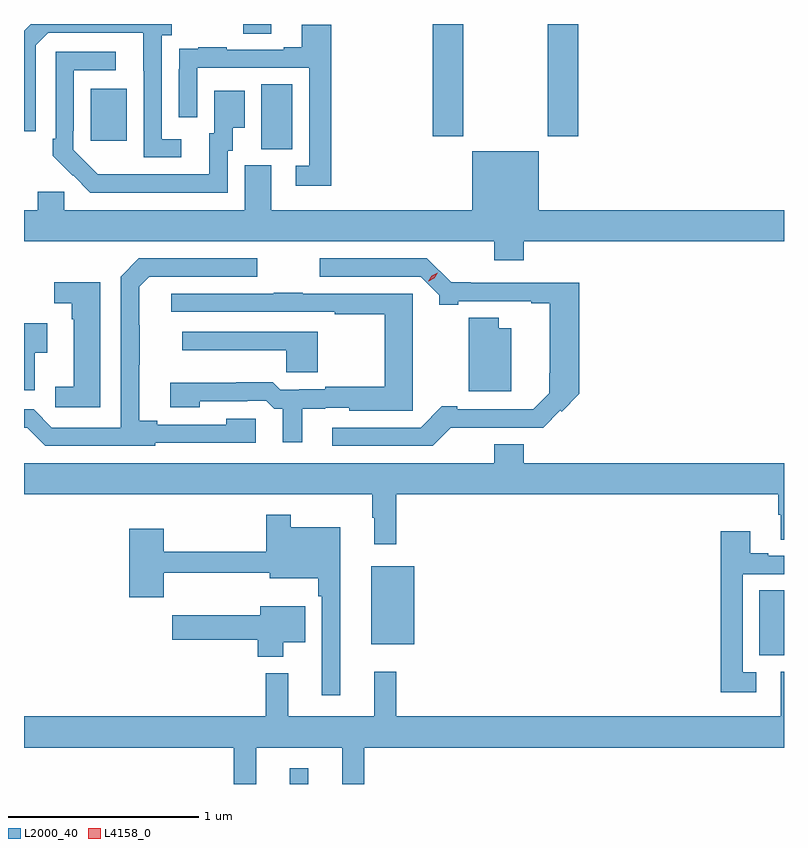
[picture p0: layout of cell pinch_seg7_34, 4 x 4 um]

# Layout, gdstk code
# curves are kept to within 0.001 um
import gdstk
lib = gdstk.Library(unit=1e-6, precision=1e-09)
def R(c, l, rs):  # rectangles x0, y0, x1, y1
    for r in rs: c.add(gdstk.rectangle(r[:2], r[2:], *l))
def P(c, l, *ps):  # polygons
    for p in ps: c.add(gdstk.Polygon(p, *l))
L2000_40 = (2000, 40)
L4158_0 = (4158, 0)

pinch_seg7_34 = lib.new_cell('pinch_seg7_34')
R(pinch_seg7_34, L2000_40, [(1056.176,1056.368,1056.273,1056.451), (1058.648,1057.045,1058.777,1057.388), (1056.605,1057.103,1056.832,1057.513), (1056.026,1059.709,1056.19,1060.052), (1055.129,1059.753,1055.317,1060.027), (1056.929,1059.777,1057.089,1060.368), (1057.534,1059.777,1057.694,1060.368), (1055.932,1060.318,1056.079,1060.368)])
P(pinch_seg7_34, L2000_40, [(1055.605,1059.762),(1055.502,1059.762),(1055.502,1060.31),(1055.554,1060.31),(1055.554,1060.368),(1054.812,1060.368),(1054.777,1060.333),(1054.777,1059.804),(1054.839,1059.804),(1054.839,1060.257),(1054.905,1060.323),(1055.405,1060.323),(1055.406,1059.666),(1055.605,1059.666)],
  [(1056.395,1060.363),(1056.239,1060.363),(1056.239,1060.246),(1056.143,1060.246),(1056.143,1060.233),(1055.843,1060.233),(1055.843,1060.246),(1055.695,1060.246),(1055.695,1060.239),(1055.593,1060.239),(1055.593,1060.13),(1055.592,1060.13),(1055.592,1059.876),(1055.688,1059.876),(1055.688,1060.137),(1056.279,1060.137),(1056.279,1059.621),(1056.207,1059.621),(1056.207,1059.516),(1056.395,1059.516)],
  [(1055.85,1059.702),(1055.875,1059.702),(1055.875,1059.821),(1055.938,1059.821),(1055.938,1060.018),(1055.777,1060.018),(1055.777,1059.792),(1055.753,1059.792),(1055.753,1059.576),(1055.166,1059.577),(1055.037,1059.705),(1055.037,1059.805),(1055.04,1059.805),(1055.04,1060.125),(1055.26,1060.125),(1055.26,1060.221),(1054.944,1060.221),(1054.944,1059.763),(1054.929,1059.763),(1054.929,1059.675),(1055.126,1059.48),(1055.85,1059.48)],
  [(1057.406,1059.224),(1058.777,1059.224),(1058.777,1059.388),(1057.486,1059.388),(1057.486,1059.697),(1057.136,1059.697),(1057.136,1059.388),(1056.079,1059.388),(1056.079,1059.624),(1055.939,1059.624),(1055.939,1059.388),(1054.989,1059.388),(1054.989,1059.486),(1054.85,1059.486),(1054.85,1059.388),(1054.777,1059.388),(1054.777,1059.224),(1057.253,1059.224),(1057.253,1059.125),(1057.406,1059.125)],
  [(1057.022,1058.243),(1057.509,1058.244),(1057.599,1058.335),(1057.606,1058.327),(1057.7,1058.421),(1057.7,1059.006),(1057.129,1059.006),(1057.129,1059.008),(1057.025,1059.008),(1056.897,1059.135),(1056.333,1059.135),(1056.333,1059.039),(1056.864,1059.039),(1056.963,1058.94),(1056.963,1058.89),(1057.063,1058.89),(1057.063,1058.91),(1057.448,1058.91),(1057.448,1058.898),(1057.544,1058.898),(1057.544,1058.53),(1057.542,1058.53),(1057.542,1058.424),(1057.458,1058.34),(1057.057,1058.34),(1057.057,1058.356),(1056.976,1058.356),(1056.864,1058.244),(1056.399,1058.244),(1056.399,1058.148),(1056.927,1058.148)],
  [(1055.469,1058.163),(1055.998,1058.163),(1055.998,1058.29),(1055.842,1058.29),(1055.842,1058.259),(1055.479,1058.259),(1055.479,1058.279),(1055.383,1058.279),(1055.383,1058.575),(1055.385,1058.575),(1055.385,1058.782),(1055.383,1058.782),(1055.383,1058.986),(1055.436,1059.039),(1056.004,1059.039),(1056.004,1059.135),(1055.382,1059.135),(1055.286,1059.039),(1055.286,1058.244),(1054.923,1058.244),(1054.827,1058.34),(1054.777,1058.34),(1054.777,1058.244),(1054.794,1058.244),(1054.89,1058.148),(1055.469,1058.148)],
  [(1055.179,1059.008),(1054.935,1059.008),(1054.935,1058.898),(1055.027,1058.898),(1055.027,1058.813),(1055.039,1058.813),(1055.039,1058.459),(1054.941,1058.459),(1054.941,1058.35),(1055.179,1058.35)],
  [(1056.241,1058.342),(1056.363,1058.342),(1056.363,1058.349),(1056.489,1058.349),(1056.489,1058.333),(1056.823,1058.333),(1056.823,1058.949),(1056.245,1058.949),(1056.245,1058.954),(1056.091,1058.954),(1056.091,1058.949),(1055.553,1058.949),(1055.553,1058.853),(1056.412,1058.853),(1056.412,1058.841),(1056.676,1058.841),(1056.676,1058.458),(1056.363,1058.458),(1056.363,1058.445),(1056.226,1058.445),(1056.226,1058.442),(1056.126,1058.442),(1056.087,1058.482),(1055.893,1058.482),(1055.893,1058.479),(1055.547,1058.479),(1055.547,1058.351),(1055.703,1058.351),(1055.703,1058.382),(1055.951,1058.382),(1055.951,1058.385),(1056.051,1058.385),(1056.095,1058.342),(1056.14,1058.342),(1056.14,1058.166),(1056.241,1058.166)],
  [(1057.342,1058.767),(1057.276,1058.767),(1057.276,1058.821),(1057.118,1058.821),(1057.118,1058.435),(1057.342,1058.435)],
  [(1054.834,1058.638),(1054.9,1058.638),(1054.9,1058.793),(1054.777,1058.793),(1054.777,1058.441),(1054.834,1058.441)],
  [(1056.324,1058.748),(1055.61,1058.748),(1055.61,1058.651),(1056.158,1058.651),(1056.158,1058.535),(1056.324,1058.535)],
  [(1056.737,1057.892),(1058.747,1057.892),(1058.747,1057.786),(1058.759,1057.786),(1058.759,1057.654),(1058.777,1057.654),(1058.777,1058.056),(1057.406,1058.056),(1057.406,1058.155),(1057.253,1058.155),(1057.253,1058.056),(1054.777,1058.056),(1054.777,1057.892),(1056.609,1057.892),(1056.609,1057.769),(1056.62,1057.769),(1056.62,1057.629),(1056.737,1057.629)],
  [(1056.442,1057.72),(1056.181,1057.72),(1056.181,1057.786),(1056.052,1057.786),(1056.052,1057.591),(1055.513,1057.591),(1055.513,1057.711),(1055.33,1057.711),(1055.33,1057.35),(1055.513,1057.35),(1055.513,1057.48),(1056.071,1057.48),(1056.071,1057.451),(1056.325,1057.451),(1056.325,1057.355),(1056.345,1057.355),(1056.345,1056.834),(1056.442,1056.834)],
  [(1058.632,1056.957),(1058.559,1056.957),(1058.559,1057.473),(1058.777,1057.473),(1058.777,1057.569),(1058.695,1057.569),(1058.695,1057.582),(1058.599,1057.582),(1058.599,1057.699),(1058.443,1057.699),(1058.443,1056.852),(1058.632,1056.852)],
  [(1056.142,1057.115),(1056.256,1057.115),(1056.256,1057.303),(1056.02,1057.303),(1056.02,1057.255),(1055.556,1057.255),(1055.556,1057.126),(1056.008,1057.126),(1056.008,1057.037),(1056.142,1057.037)],
  [(1055.999,1056.56),(1056.452,1056.56),(1056.452,1056.368),(1056.569,1056.368),(1056.569,1056.56),(1058.777,1056.56),(1058.777,1056.96),(1058.759,1056.96),(1058.759,1056.724),(1056.737,1056.724),(1056.737,1056.958),(1056.62,1056.958),(1056.62,1056.724),(1056.167,1056.724),(1056.167,1056.952),(1056.049,1056.952),(1056.049,1056.724),(1054.777,1056.724),(1054.777,1056.56),(1055.881,1056.56),(1055.881,1056.368),(1055.999,1056.368)])
P(pinch_seg7_34, L4158_0, [(1056.905,1059.014),(1056.905,1059.014),(1056.923,1059.044),(1056.954,1059.058),(1056.954,1059.058),(1056.954,1059.058),(1056.936,1059.029),(1056.906,1059.014)])

lib.write_gds('pinch_seg7_34.gds')
